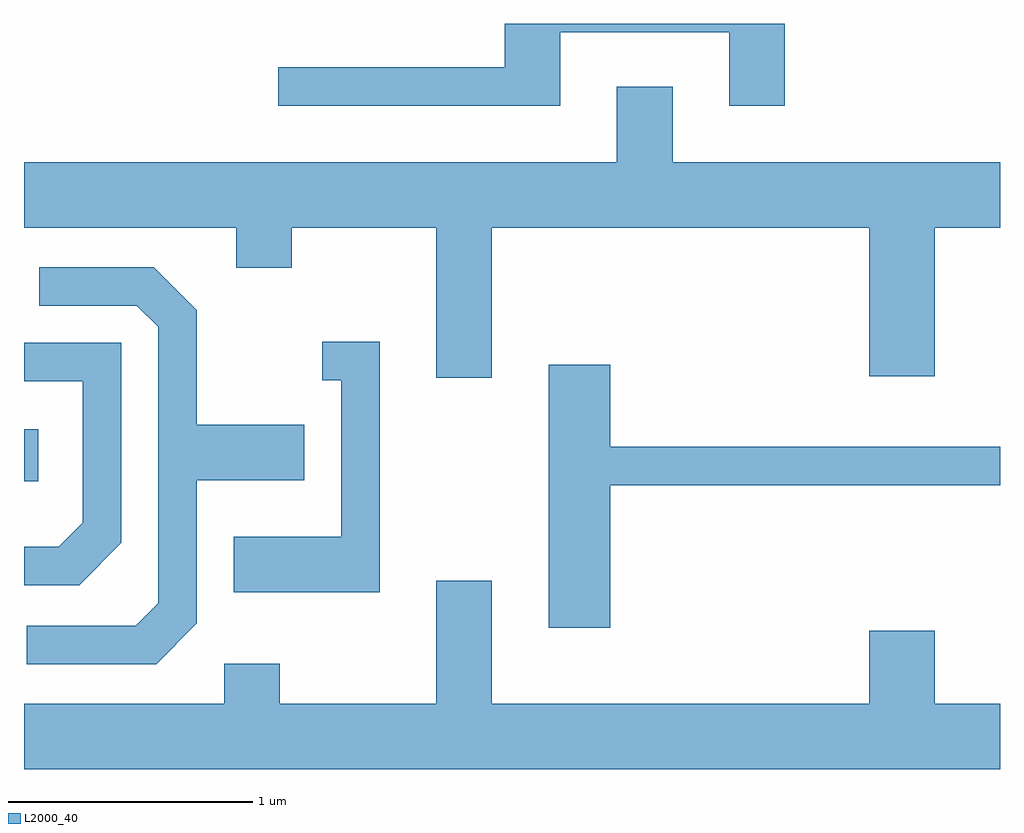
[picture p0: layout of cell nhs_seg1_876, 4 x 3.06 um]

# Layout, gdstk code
import gdstk
lib = gdstk.Library(unit=1e-6, precision=1e-09)
def R(c, l, rs):  # rectangles x0, y0, x1, y1
    for r in rs: c.add(gdstk.rectangle(r[:2], r[2:], *l))
def P(c, l, *ps):  # polygons
    for p in ps: c.add(gdstk.Polygon(p, *l))
L2000_40 = (2000, 40)

nhs_seg1_876 = lib.new_cell('nhs_seg1_876')
R(nhs_seg1_876, L2000_40, [(211.611,931.836,211.669,932.049)])
P(nhs_seg1_876, L2000_40, [(213.809,933.676),(214.501,933.676),(214.501,933.376),(214.729,933.376),(214.729,933.712),(213.581,933.712),(213.581,933.534),(212.653,933.534),(212.653,933.376),(213.809,933.376)],
  [(213.529,932.876),(215.076,932.876),(215.076,932.266),(215.344,932.266),(215.344,932.876),(215.611,932.876),(215.611,933.144),(214.269,933.144),(214.269,933.454),(214.041,933.454),(214.041,933.144),(211.611,933.144),(211.611,932.876),(212.481,932.876),(212.481,932.711),(212.709,932.711),(212.709,932.876),(213.301,932.876),(213.301,932.261),(213.529,932.261)],
  [(212.319,931.254),(212.319,931.841),(212.759,931.841),(212.759,932.069),(212.319,932.069),(212.319,932.537),(212.142,932.714),(211.673,932.714),(211.673,932.556),(212.074,932.556),(212.161,932.469),(212.161,931.337),(212.069,931.244),(211.623,931.244),(211.623,931.086),(212.152,931.086)],
  [(213.069,932.409),(212.833,932.409),(212.833,932.251),(212.911,932.251),(212.911,931.609),(212.471,931.609),(212.471,931.381),(213.069,931.381)],
  [(212.009,931.584),(212.009,932.404),(211.611,932.404),(211.611,932.246),(211.851,932.246),(211.851,931.667),(211.754,931.569),(211.611,931.569),(211.611,931.411),(211.837,931.411)],
  [(214.014,931.821),(215.611,931.821),(215.611,931.979),(214.014,931.979),(214.014,932.314),(213.761,932.314),(213.761,931.236),(214.014,931.236)],
  [(215.611,930.924),(215.344,930.924),(215.344,931.224),(215.076,931.224),(215.076,930.924),(213.529,930.924),(213.529,931.429),(213.301,931.429),(213.301,930.924),(212.659,930.924),(212.659,931.089),(212.431,931.089),(212.431,930.924),(211.611,930.924),(211.611,930.656),(215.611,930.656)])

lib.write_gds('nhs_seg1_876.gds')
